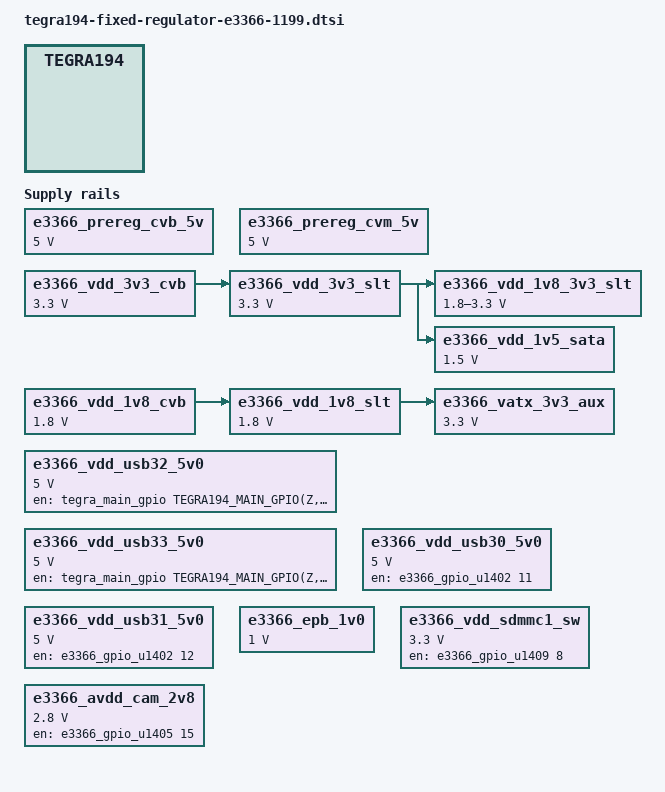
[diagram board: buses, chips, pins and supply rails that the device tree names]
/*
 * Copyright (c) 2017, NVIDIA CORPORATION.  All rights reserved.
 *
 * This program is free software; you can redistribute it and/or modify
 * it under the terms of the GNU General Public License as published by
 * the Free Software Foundation; either version 2 of the License, or
 * (at your option) any later version.
 *
 * This program is distributed in the hope that it will be useful, but WITHOUT
 * ANY WARRANTY; without even the implied warranty of MERCHANTABILITY or
 * FITNESS FOR A PARTICULAR PURPOSE.  See the GNU General Public License for
 * more details.
 */

#include <dt-bindings/gpio/tegra194-gpio.h>
#include <t19x-common-platforms/tegra194-platforms-simple-bus.dtsi>

/ {
	fixed-regulators {
		e3366_prereg_cvb_5v: regulator@100 {
			compatible = "regulator-fixed";
			reg = <100>;
			regulator-name = "vdd-prereg-cvb-5v";
			regulator-min-microvolt = <5000000>;
			regulator-max-microvolt = <5000000>;
			regulator-always-on;
		};

		e3366_prereg_cvm_5v: regulator@101 {
			compatible = "regulator-fixed";
			reg = <101>;
			regulator-name = "vdd-prereg-cvm-5v";
			regulator-min-microvolt = <5000000>;
			regulator-max-microvolt = <5000000>;
			regulator-always-on;
		};

		e3366_vdd_3v3_cvb: regulator@102 {
			compatible = "regulator-fixed";
			reg = <102>;
			regulator-name = "vdd-3v3-cvb";
			regulator-min-microvolt = <3300000>;
			regulator-max-microvolt = <3300000>;
			regulator-always-on;
		};

		e3366_vdd_1v8_cvb: regulator@103 {
			compatible = "regulator-fixed";
			reg = <103>;
			regulator-name = "vdd-1v8-cvb";
			regulator-min-microvolt = <1800000>;
			regulator-max-microvolt = <1800000>;
			regulator-always-on;
		};

		e3366_vdd_3v3_slt: regulator@104 {
			compatible = "regulator-fixed";
			reg = <104>;
			regulator-name = "vdd-3v3-slt";
			regulator-min-microvolt = <3300000>;
			regulator-max-microvolt = <3300000>;
			regulator-always-on;
			vin-supply = <&e3366_vdd_3v3_cvb>;
		};

		e3366_vdd_1v8_slt: regulator@105 {
			compatible = "regulator-fixed";
			reg = <105>;
			regulator-name = "vdd-1v8-slt";
			regulator-min-microvolt = <1800000>;
			regulator-max-microvolt = <1800000>;
			regulator-always-on;
			vin-supply = <&e3366_vdd_1v8_cvb>;
		};

		e3366_vatx_3v3_aux: regulator@106 {
			compatible = "regulator-fixed";
			reg = <106>;
			regulator-name = "vatx-3v3-aux";
			regulator-min-microvolt = <3300000>;
			regulator-max-microvolt = <3300000>;
			regulator-always-on;
			vin-supply = <&e3366_vdd_1v8_slt>;
		};

		e3366_vdd_1v8_3v3_slt: regulator@107 {
			compatible = "regulator-gpio";
			reg = <107>;
			regulator-name = "vdd_1v8-3v3-slt";
			regulator-min-microvolt = <1800000>;
			regulator-max-microvolt = <3300000>;
			regulator-always-on;
			gpios = <&e3366_gpio_u1405 5 0>;
			states = <1800000 0x0
				  3300000 0x1>;
			vin-supply = <&e3366_vdd_3v3_slt>;
		};

		e3366_vdd_usb32_5v0: regulator@108 {
			compatible = "regulator-fixed";
			reg = <108>;
			regulator-name = "vdd-usb32-5v0";
			regulator-min-microvolt = <5000000>;
			regulator-max-microvolt = <5000000>;
			gpio-open-drain;
			enable-active-high;
			gpio = <&tegra_main_gpio TEGRA194_MAIN_GPIO(Z, 1) 0>;
		};

		e3366_vdd_usb33_5v0: regulator@109 {
			compatible = "regulator-fixed";
			reg = <109>;
			regulator-name = "vdd-usb33-5v0";
			regulator-min-microvolt = <5000000>;
			regulator-max-microvolt = <5000000>;
			gpio-open-drain;
			enable-active-high;
			gpio = <&tegra_main_gpio TEGRA194_MAIN_GPIO(Z, 2) 0>;
		};

		e3366_vdd_usb30_5v0: regulator@110 {
			compatible = "regulator-fixed-sync";
			reg = <110>;
			regulator-name = "vdd-usb30-5v0";
			regulator-min-microvolt = <5000000>;
			regulator-max-microvolt = <5000000>;
			gpio-open-drain;
			enable-active-high;
			gpio = <&e3366_gpio_u1402 11 1>;
		};

		e3366_vdd_usb31_5v0: regulator@111 {
			compatible = "regulator-fixed-sync";
			reg = <111>;
			regulator-name = "vdd-usb31-5v0";
			regulator-min-microvolt = <5000000>;
			regulator-max-microvolt = <5000000>;
			gpio-open-drain;
			enable-active-high;
			gpio = <&e3366_gpio_u1402 12 1>;
		};

		e3366_epb_1v0: regulator@112 {
			compatible = "regulator-fixed";
			reg = <112>;
			regulator-name = "vdd-epb-1v0";
			regulator-min-microvolt = <1000000>;
			regulator-max-microvolt = <1000000>;
		};

		e3366_vdd_sdmmc1_sw: regulator@113 {
			compatible = "regulator-fixed-sync";
			reg = <113>;
			regulator-name = "vdd-sdmmc1-sw";
			regulator-min-microvolt = <3300000>;
			regulator-max-microvolt = <3300000>;
			enable-active-high;
			gpio = <&e3366_gpio_u1409 8 1>;
		};

		e3366_avdd_cam_2v8: regulator@114 {
			compatible = "regulator-fixed-sync";
			reg = <114>;
			regulator-name = "avdd-cam_2v8";
			regulator-min-microvolt = <2800000>;
			regulator-max-microvolt = <2800000>;
			enable-active-high;
			gpio = <&e3366_gpio_u1405 15 1>;
		};

		e3366_vdd_1v5_sata: regulator@115 {
			compatible = "regulator-fixed";
			reg = <115>;
			regulator-name = "vdd-1v5-sata";
			regulator-min-microvolt = <1500000>;
			regulator-max-microvolt = <1500000>;
			vin-supply = <&e3366_vdd_3v3_slt>;
		};
	};
};
